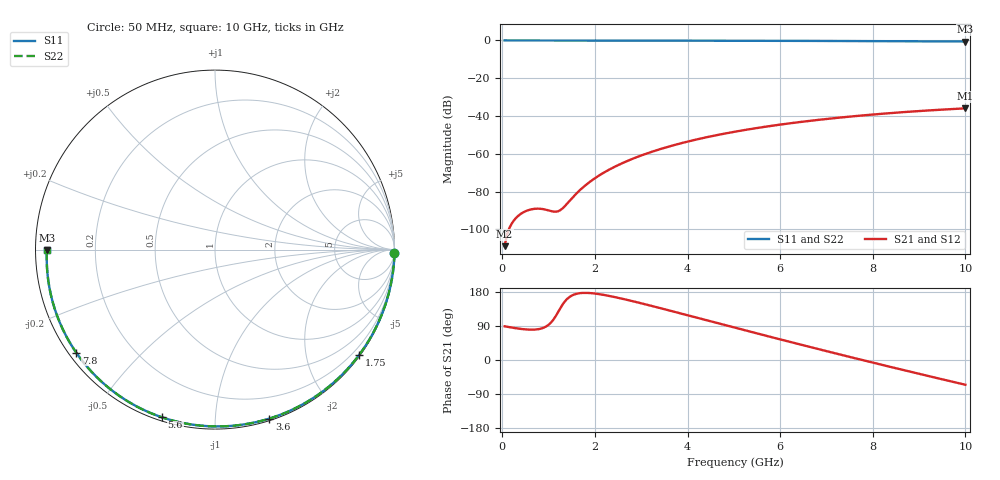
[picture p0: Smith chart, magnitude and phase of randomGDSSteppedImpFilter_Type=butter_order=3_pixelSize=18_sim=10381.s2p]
! freq	dB(S11)	phase(S11)	dB(S12)	phase(S12)
!  dB(S21)	phase(S21)	dB(S22)	phase(S22)
!S-par simulation data
#  GHz  S  DB  R 50
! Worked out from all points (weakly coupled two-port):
!   200 points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, 50 MHz to 10 GHz, reference 50 ohm
!   highest |S21| = -35.97 dB at 10 GHz (marker M1); lowest = -108.9 dB at 50 MHz (marker M2)
!   lowest |S11| = -0.6 dB at 10 GHz (marker M3), VSWR 30.60, Z = 1.63 - j0.119 ohm
!   |S11| at or under -10 dB: nowhere
!   |S22| runs from -0.6 to 0.0 dB; largest |S21 - S12| = 0
!   S11 on the Smith chart (normalised r, x): 50 MHz: open; 1.75 GHz: 0.03, -3.05; 3.6 GHz: 0.02, -1.37; 5.6 GHz: 0.02, -0.73; 7.8 GHz: 0.02, -0.33; 10 GHz: 0.03, -0.00
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0.05  -0.00 -1.1  -108.94 88.9  -108.94 88.9  -0.00 -1.1
0.4  -0.01 -8.5  -91.83 82.1  -91.83 82.1  -0.01 -8.5
0.8  -0.02 -16.8  -89.11 81.8  -89.11 81.8  -0.02 -16.8
1.6  -0.04 -33.3  -81.06 174.6  -81.06 174.6  -0.04 -33.3
1.65  -0.04 -34.3  -79.86 175.9  -79.86 175.9  -0.04 -34.3
1.75  -0.05 -36.3  -77.64 177.1  -77.64 177.1  -0.05 -36.3
1.9  -0.05 -39.3  -74.70 176.6  -74.70 176.6  -0.05 -39.3
2.05  -0.05 -42.3  -72.15 174.5  -72.15 174.5  -0.05 -42.3
2.25  -0.06 -46.3  -69.19 170.5  -69.19 170.5  -0.06 -46.3
2.45  -0.06 -50.3  -66.62 165.5  -66.62 165.5  -0.06 -50.3
2.9  -0.08 -59.0  -61.83 152.7  -61.83 152.7  -0.08 -59.0
3.4  -0.09 -68.5  -57.62 137.3  -57.62 137.3  -0.09 -68.5
3.6  -0.10 -72.2  -56.17 130.9  -56.17 130.9  -0.10 -72.2
4.3  -0.12 -85.0  -51.85 108.5  -51.85 108.5  -0.12 -85.0
5.05  -0.15 -98.1  -48.20 84.5  -48.20 84.5  -0.15 -98.1
5.6  -0.18 -107.5  -45.98 67.0  -45.98 67.0  -0.18 -107.5
6.15  -0.21 -116.7  -44.07 49.7  -44.07 49.7  -0.21 -116.7
6.7  -0.24 -125.7  -42.40 32.6  -42.40 32.6  -0.24 -125.7
7.8  -0.33 -143.5  -39.66 -0.9  -39.66 -0.9  -0.33 -143.5
8.35  -0.38 -152.3  -38.53 -17.3  -38.53 -17.3  -0.38 -152.3
9.2  -0.47 -166.2  -37.07 -42.3  -37.07 -42.3  -0.47 -166.2
10  -0.57 -179.7  -35.97 -65.3  -35.97 -65.3  -0.57 -179.7
